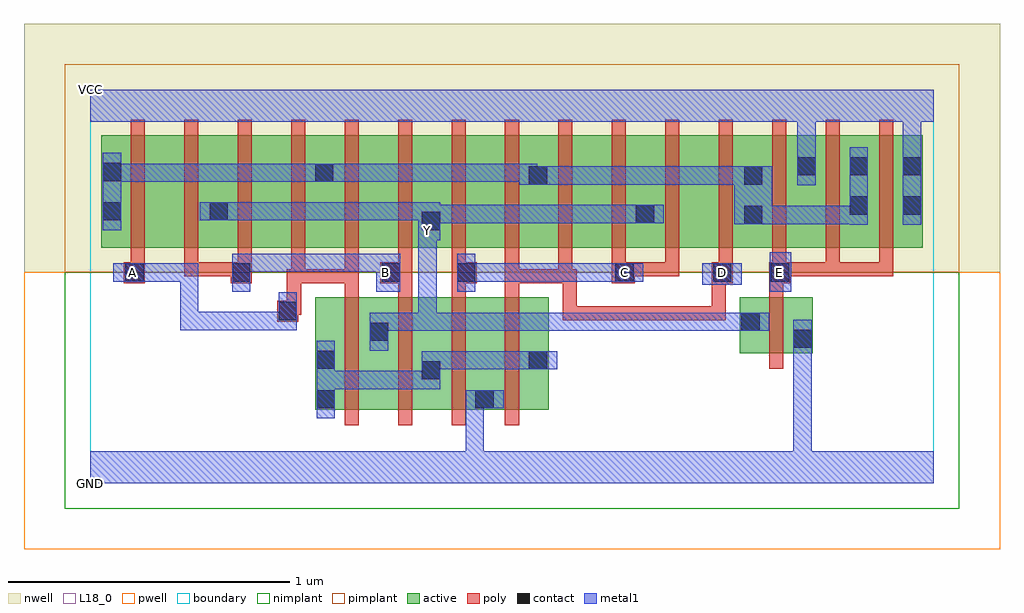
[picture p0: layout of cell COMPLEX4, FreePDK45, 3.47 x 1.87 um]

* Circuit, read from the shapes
.subckt COMPLEX4 A B C D E GND VCC Y
M1 Y A n1 VSUBS nfet w=0.4u l=0.05u
M2 n1 B Y VSUBS nfet w=0.4u l=0.05u
M3 GND C n1 VSUBS nfet w=0.4u l=0.05u
M4 n1 D GND VSUBS nfet w=0.4u l=0.05u
M5 GND E Y VSUBS nfet w=0.2u l=0.05u
M6 n2 A n3 n4 pfet w=0.4u l=0.05u
M7 Y B n2 n4 pfet w=0.4u l=0.05u
M8 n5 B Y n4 pfet w=0.4u l=0.05u
M9 n3 A n5 n4 pfet w=0.4u l=0.05u
M10 n6 A n3 n4 pfet w=0.4u l=0.05u
M11 Y B n6 n4 pfet w=0.4u l=0.05u
M12 n7 C Y n4 pfet w=0.4u l=0.05u
M13 n3 D n7 n4 pfet w=0.4u l=0.05u
M14 n8 D n3 n4 pfet w=0.4u l=0.05u
M15 Y C n8 n4 pfet w=0.4u l=0.05u
M16 n9 C Y n4 pfet w=0.4u l=0.05u
M17 n3 D n9 n4 pfet w=0.4u l=0.05u
M18 VCC E n3 n4 pfet w=0.4u l=0.05u m=3
.ends

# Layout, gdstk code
import gdstk
lib = gdstk.Library(unit=1e-6, precision=1e-09)
def R(c, l, rs):  # rectangles x0, y0, x1, y1
    for r in rs: c.add(gdstk.rectangle(r[:2], r[2:], *l))
def A(c, l, x, y, w, h, nx, ny, dx, dy):  # array of equal rectangles
    R(c, l, [(x+i*dx, y+j*dy, x+i*dx+w, y+j*dy+h) for i in range(nx) for j in range(ny)])
active = (1, 0)
pwell = (2, 0)
nwell = (3, 0)
nimplant = (4, 0)
pimplant = (5, 0)
poly = (9, 0)
contact = (10, 0)
metal1 = (11, 0)
L18_0 = (18, 0)
boundary = (235, 0)

complex4 = lib.new_cell('COMPLEX4')
A(complex4, active, 0.645, 0.837, 0.225, 0.4, 4, 1, 0.38, 0)
A(complex4, active, 0.795, 0.837, 0.23, 0.4, 4, 1, 0.38, 0)
R(complex4, active, [(0.8,0.262,1.065,0.662), (0.8,0.262,0.875,0.662), (0.99,0.262,1.25,0.662), (1.175,0.262,1.44,0.662), (1.365,0.262,1.44,0.492), (1.365,0.262,1.63,0.662), (1.555,0.262,1.63,0.492), (0.99,0.295,1.065,0.577), (1.175,0.295,1.25,0.492), (2.31,0.462,2.385,0.662), (2.31,0.462,2.57,0.662), (2.495,0.462,2.57,0.662), (0.04,0.837,0.265,1.237), (0.04,0.837,0.145,1.2), (0.265,0.837,0.495,1.237), (0.42,0.837,0.495,1.07), (0.42,0.837,0.645,1.237), (0.795,0.837,0.87,1.2), (1.175,0.837,1.25,1.07), (1.555,0.837,1.63,1.2), (1.935,0.837,2.01,1.07), (2.165,0.837,2.395,1.237), (2.32,0.837,2.585,1.237), (2.32,0.837,2.395,1.2), (2.51,0.837,2.77,1.237), (2.51,0.837,2.585,1.237), (2.695,0.837,2.96,1.237), (2.695,0.837,2.77,1.2), (2.885,0.837,2.96,1.237)])
R(complex4, pwell, [(-0.235,-0.235,3.235,0.75)])
R(complex4, nwell, [(-0.235,0.75,3.235,1.635)])
R(complex4, nimplant, [(-0.09,-0.09,3.09,0.75)])
R(complex4, pimplant, [(-0.09,0.75,3.09,1.49)])
A(complex4, poly, 0.905, 0.207, 0.05, 0.51, 4, 1, 0.19, 0)
A(complex4, poly, 0.905, 0.667, 0.05, 0.095, 4, 1, 0.19, 0)
A(complex4, poly, 0.145, 0.737, 0.05, 0.095, 3, 1, 0.19, 0)
A(complex4, poly, 1.855, 0.737, 0.05, 0.095, 6, 1, 0.19, 0)
A(complex4, poly, 0.145, 0.782, 0.05, 0.51, 15, 1, 0.19, 0)
R(complex4, poly, [(2.415,0.407,2.465,0.717), (0.665,0.575,0.74,0.65), (1.68,0.58,1.73,0.63), (1.68,0.58,1.73,0.63), (1.68,0.58,1.73,0.63), (1.68,0.58,1.73,0.63), (1.68,0.58,1.73,0.63), (1.68,0.58,1.73,0.762), (1.68,0.58,1.962,0.63), (1.912,0.58,1.962,0.63), (1.912,0.58,2.127,0.63), (2.077,0.58,2.127,0.63), (2.077,0.58,2.127,0.63), (2.077,0.58,2.127,0.63), (2.077,0.58,2.26,0.63), (2.21,0.58,2.26,0.63), (2.21,0.58,2.26,0.63), (2.21,0.58,2.26,0.63), (2.21,0.58,2.26,0.762), (0.69,0.6,0.74,0.65), (0.69,0.6,0.75,0.65), (0.7,0.6,0.75,0.762), (2.415,0.667,2.465,0.762), (0.12,0.712,0.195,0.787), (0.5,0.712,0.575,0.787), (0.7,0.712,0.765,0.762), (0.715,0.712,0.765,0.762), (0.715,0.712,0.765,0.762), (0.715,0.712,0.955,0.762), (0.715,0.712,0.765,0.832), (0.905,0.712,0.955,0.762), (0.905,0.712,0.955,0.832), (1.032,0.712,1.145,0.787), (1.285,0.712,1.375,0.787), (1.475,0.712,1.525,0.762), (1.475,0.712,1.525,0.762), (1.475,0.712,1.525,0.762), (1.475,0.712,1.715,0.762), (1.475,0.712,1.525,0.832), (1.665,0.712,1.715,0.832), (1.665,0.712,1.73,0.762), (1.855,0.712,1.937,0.787), (2.21,0.712,2.26,0.762), (2.21,0.712,2.26,0.762), (2.21,0.712,2.285,0.787), (2.415,0.712,2.49,0.787), (0.335,0.737,0.385,0.787), (0.335,0.737,0.55,0.787), (0.5,0.737,0.55,0.787), (0.5,0.737,0.55,0.787), (1.095,0.737,1.145,0.832), (1.285,0.737,1.335,0.832), (1.887,0.737,1.937,0.787), (1.887,0.737,1.937,0.787), (1.887,0.737,2.095,0.787), (2.045,0.737,2.095,0.787), (2.44,0.737,2.665,0.787), (2.615,0.737,2.665,0.787), (2.615,0.737,2.665,0.787), (2.615,0.737,2.665,0.787), (2.615,0.737,2.855,0.787), (2.805,0.737,2.855,0.787), (2.805,0.737,2.855,0.787), (2.805,0.737,2.855,0.787)])
R(complex4, contact, [(0.805,0.267,0.87,0.332), (1.37,0.267,1.435,0.332), (1.18,0.37,1.245,0.435), (1.56,0.405,1.625,0.47), (0.805,0.407,0.87,0.472), (2.5,0.482,2.565,0.547), (0.995,0.507,1.06,0.572), (2.315,0.542,2.38,0.607), (0.67,0.58,0.735,0.645), (0.125,0.717,0.19,0.782), (0.505,0.717,0.57,0.782), (1.037,0.717,1.102,0.782), (1.305,0.717,1.37,0.782), (1.867,0.717,1.932,0.782), (2.215,0.717,2.28,0.782), (2.42,0.717,2.485,0.782), (1.18,0.9,1.245,0.965), (2.325,0.922,2.39,0.987), (1.94,0.925,2.005,0.99), (0.045,0.935,0.11,1), (0.425,0.935,0.49,1), (2.7,0.955,2.765,1.02), (2.89,0.955,2.955,1.02), (1.56,1.062,1.625,1.127), (2.325,1.062,2.39,1.127), (0.8,1.072,0.865,1.137), (0.045,1.075,0.11,1.14), (2.515,1.095,2.58,1.16), (2.7,1.095,2.765,1.16), (2.89,1.095,2.955,1.16)])
R(complex4, metal1, [(0,0,3,0.115), (1.335,0.05,1.4,0.332), (2.5,0.05,2.565,0.115), (2.5,0.05,2.565,0.115), (2.5,0.05,2.565,0.115), (2.5,0.05,2.565,0.115), (2.5,0.05,2.565,0.512), (0.805,0.232,0.87,0.507), (1.335,0.267,1.4,0.332), (1.335,0.267,1.4,0.332), (1.335,0.267,1.47,0.332), (0.805,0.335,0.87,0.4), (0.805,0.335,0.87,0.4), (0.805,0.335,1.095,0.4), (1.03,0.335,1.095,0.4), (1.03,0.335,1.095,0.4), (1.03,0.335,1.095,0.4), (1.03,0.335,1.245,0.4), (1.18,0.335,1.245,0.47), (1.18,0.405,1.382,0.47), (1.317,0.405,1.382,0.47), (1.317,0.405,1.382,0.47), (1.317,0.405,1.382,0.47), (1.317,0.405,1.59,0.47), (1.525,0.405,1.59,0.47), (1.525,0.405,1.59,0.47), (1.525,0.405,1.66,0.47), (2.5,0.447,2.565,0.512), (2.5,0.447,2.565,0.512), (2.5,0.447,2.565,0.582), (0.995,0.472,1.06,0.607), (0.995,0.542,1.06,0.607), (0.995,0.542,1.06,0.607), (0.995,0.542,1.232,0.607), (1.167,0.542,1.232,0.607), (1.167,0.542,1.382,0.607), (1.167,0.542,1.232,0.897), (1.317,0.542,1.382,0.607), (1.317,0.542,1.382,0.607), (1.317,0.542,1.382,0.607), (1.317,0.542,1.52,0.607), (1.455,0.542,1.52,0.607), (1.455,0.542,1.52,0.607), (1.455,0.542,1.52,0.607), (1.455,0.542,1.727,0.607), (1.662,0.542,1.727,0.607), (1.662,0.542,1.797,0.607), (1.732,0.542,1.797,0.607), (1.732,0.542,1.935,0.607), (1.87,0.542,1.935,0.607), (1.87,0.542,1.935,0.607), (1.87,0.542,1.935,0.607), (1.87,0.542,2.105,0.607), (2.04,0.542,2.105,0.607), (2.04,0.542,2.105,0.607), (2.04,0.542,2.105,0.607), (2.04,0.542,2.345,0.607), (2.28,0.542,2.345,0.607), (2.28,0.542,2.345,0.607), (2.28,0.542,2.415,0.607), (0.32,0.545,0.385,0.61), (0.32,0.545,0.555,0.61), (0.32,0.545,0.385,0.782), (0.49,0.545,0.555,0.61), (0.49,0.545,0.692,0.61), (0.627,0.545,0.692,0.61), (0.627,0.545,0.692,0.61), (0.627,0.545,0.692,0.61), (0.627,0.545,0.735,0.61), (0.67,0.545,0.735,0.68), (0.505,0.682,0.57,0.817), (1.017,0.682,1.102,0.817), (1.305,0.682,1.37,0.817), (2.417,0.682,2.492,0.822), (2.177,0.707,2.317,0.782), (0.082,0.717,0.225,0.782), (0.16,0.717,0.247,0.782), (0.182,0.717,0.247,0.782), (0.182,0.717,0.385,0.782), (0.32,0.717,0.385,0.782), (0.32,0.717,0.385,0.782), (0.32,0.717,0.385,0.782), (1.305,0.717,1.382,0.782), (1.317,0.717,1.382,0.782), (1.317,0.717,1.59,0.782), (1.525,0.717,1.59,0.782), (1.525,0.717,1.59,0.782), (1.525,0.717,1.59,0.782), (1.525,0.717,1.76,0.782), (1.695,0.717,1.76,0.782), (1.695,0.717,1.797,0.782), (1.732,0.717,1.797,0.782), (1.732,0.717,1.897,0.782), (1.832,0.717,1.967,0.782), (0.505,0.752,0.662,0.817), (0.597,0.752,0.662,0.817), (0.597,0.752,0.732,0.817), (0.667,0.752,0.732,0.817), (0.667,0.752,0.9,0.817), (0.835,0.752,0.9,0.817), (0.835,0.752,0.9,0.817), (0.835,0.752,0.9,0.817), (0.835,0.752,1.082,0.817), (1.017,0.752,1.082,0.817), (1.017,0.752,1.082,0.817), (1.167,0.832,1.232,0.967), (1.167,0.865,1.232,0.93), (1.167,0.865,1.245,1), (0.045,0.9,0.11,1.175), (2.7,0.92,2.765,1.195), (2.89,0.92,2.955,1.195), (2.29,0.922,2.425,1.127), (2.36,0.922,2.562,0.987), (2.497,0.922,2.562,0.987), (2.497,0.922,2.562,0.987), (2.497,0.922,2.562,0.987), (2.497,0.922,2.765,0.987), (2.7,0.922,2.765,0.987), (2.7,0.922,2.765,0.987), (1.18,0.925,1.382,0.99), (1.317,0.925,1.382,0.99), (1.317,0.925,1.382,0.99), (1.317,0.925,1.382,0.99), (1.317,0.925,1.59,0.99), (1.525,0.925,1.59,0.99), (1.525,0.925,1.59,0.99), (1.525,0.925,1.59,0.99), (1.525,0.925,1.727,0.99), (1.662,0.925,1.727,0.99), (1.662,0.925,1.797,0.99), (1.732,0.925,1.797,0.99), (1.732,0.925,1.967,0.99), (1.902,0.925,1.967,0.99), (1.902,0.925,1.97,0.99), (1.905,0.925,2.04,0.99), (0.39,0.935,0.525,1), (0.46,0.935,0.525,1), (0.46,0.935,0.525,1), (0.46,0.935,0.662,1), (0.597,0.935,0.662,1), (0.597,0.935,0.707,1), (0.642,0.935,0.707,1), (0.642,0.935,0.87,1), (0.805,0.935,0.87,1), (0.805,0.935,0.87,1), (0.805,0.935,0.87,1), (0.805,0.935,1.095,1), (1.03,0.935,1.095,1), (1.03,0.935,1.095,1), (1.03,0.935,1.095,1), (1.03,0.935,1.232,1), (2.515,1.06,2.58,1.195), (1.525,1.062,1.59,1.127), (1.525,1.062,1.66,1.127), (1.525,1.062,1.59,1.137), (1.595,1.062,1.727,1.127), (1.662,1.062,1.727,1.127), (1.662,1.062,1.797,1.127), (1.732,1.062,1.797,1.127), (1.732,1.062,1.967,1.127), (1.902,1.062,1.967,1.127), (1.902,1.062,1.967,1.127), (1.902,1.062,1.967,1.127), (1.902,1.062,2.105,1.127), (2.04,1.062,2.105,1.127), (2.04,1.062,2.177,1.127), (2.112,1.062,2.177,1.127), (2.112,1.062,2.177,1.127), (2.112,1.062,2.177,1.127), (2.112,1.062,2.242,1.127), (2.177,1.062,2.242,1.127), (2.177,1.062,2.355,1.127), (0.045,1.072,0.11,1.137), (0.045,1.072,0.11,1.137), (0.045,1.072,0.247,1.137), (0.182,1.072,0.247,1.137), (0.182,1.072,0.247,1.137), (0.182,1.072,0.247,1.137), (0.182,1.072,0.385,1.137), (0.32,1.072,0.385,1.137), (0.32,1.072,0.522,1.137), (0.457,1.072,0.522,1.137), (0.457,1.072,0.522,1.137), (0.457,1.072,0.522,1.137), (0.457,1.072,0.692,1.137), (0.627,1.072,0.692,1.137), (0.627,1.072,0.707,1.137), (0.642,1.072,0.707,1.137), (0.642,1.072,0.83,1.137), (0.765,1.072,0.9,1.137), (0.835,1.072,0.9,1.137), (0.835,1.072,0.9,1.137), (0.835,1.072,1.037,1.137), (0.972,1.072,1.037,1.137), (0.972,1.072,1.037,1.137), (0.972,1.072,1.037,1.137), (0.972,1.072,1.245,1.137), (1.18,1.072,1.245,1.137), (1.18,1.072,1.382,1.137), (1.317,1.072,1.382,1.137), (1.317,1.072,1.382,1.137), (1.317,1.072,1.382,1.137), (1.317,1.072,1.59,1.137), (2.515,1.13,2.58,1.35), (2.89,1.13,2.955,1.35), (0,1.285,3,1.4)])
R(complex4, L18_0, [(0,0,3,0.115), (1.335,0.05,1.4,0.332), (2.5,0.05,2.565,0.115), (2.5,0.05,2.565,0.115), (2.5,0.05,2.565,0.115), (2.5,0.05,2.565,0.115), (2.5,0.05,2.565,0.512), (1.335,0.267,1.4,0.332), (1.335,0.267,1.4,0.332), (1.335,0.267,1.47,0.332), (2.5,0.447,2.565,0.512), (2.5,0.447,2.565,0.512), (2.5,0.447,2.565,0.582), (0.995,0.472,1.06,0.607), (0.995,0.542,1.06,0.607), (0.995,0.542,1.06,0.607), (0.995,0.542,1.232,0.607), (1.167,0.542,1.232,0.607), (1.167,0.542,1.232,0.897), (1.167,0.542,1.382,0.607), (1.317,0.542,1.382,0.607), (1.317,0.542,1.382,0.607), (1.317,0.542,1.382,0.607), (1.317,0.542,1.52,0.607), (1.455,0.542,1.52,0.607), (1.455,0.542,1.52,0.607), (1.455,0.542,1.52,0.607), (1.455,0.542,1.727,0.607), (1.662,0.542,1.727,0.607), (1.662,0.542,1.797,0.607), (1.732,0.542,1.797,0.607), (1.732,0.542,1.935,0.607), (1.87,0.542,1.935,0.607), (1.87,0.542,1.935,0.607), (1.87,0.542,1.935,0.607), (1.87,0.542,2.105,0.607), (2.04,0.542,2.105,0.607), (2.04,0.542,2.105,0.607), (2.04,0.542,2.105,0.607), (2.04,0.542,2.345,0.607), (2.28,0.542,2.345,0.607), (2.28,0.542,2.345,0.607), (2.28,0.542,2.415,0.607), (0.32,0.545,0.385,0.61), (0.32,0.545,0.385,0.782), (0.32,0.545,0.555,0.61), (0.49,0.545,0.555,0.61), (0.49,0.545,0.692,0.61), (0.627,0.545,0.692,0.61), (0.627,0.545,0.692,0.61), (0.627,0.545,0.692,0.61), (0.627,0.545,0.735,0.61), (0.67,0.545,0.735,0.68), (0.505,0.682,0.57,0.817), (1.017,0.682,1.102,0.817), (1.305,0.682,1.37,0.817), (2.417,0.682,2.492,0.822), (2.177,0.707,2.317,0.782), (0.082,0.717,0.225,0.782), (0.117,0.717,0.182,0.782), (0.16,0.717,0.247,0.782), (0.182,0.717,0.247,0.782), (0.182,0.717,0.385,0.782), (0.32,0.717,0.385,0.782), (0.32,0.717,0.385,0.782), (0.32,0.717,0.385,0.782), (1.017,0.717,1.082,0.782), (1.305,0.717,1.382,0.782), (1.317,0.717,1.382,0.782), (1.317,0.717,1.59,0.782), (1.525,0.717,1.59,0.782), (1.525,0.717,1.59,0.782), (1.525,0.717,1.59,0.782), (1.525,0.717,1.76,0.782), (1.695,0.717,1.76,0.782), (1.695,0.717,1.797,0.782), (1.732,0.717,1.797,0.782), (1.732,0.717,1.897,0.782), (1.832,0.717,1.967,0.782), (1.867,0.717,1.932,0.782), (2.217,0.717,2.282,0.782), (2.417,0.717,2.482,0.782), (0.505,0.752,0.662,0.817), (0.597,0.752,0.662,0.817), (0.597,0.752,0.732,0.817), (0.667,0.752,0.732,0.817), (0.667,0.752,0.9,0.817), (0.835,0.752,0.9,0.817), (0.835,0.752,0.9,0.817), (0.835,0.752,0.9,0.817), (0.835,0.752,1.082,0.817), (1.017,0.752,1.082,0.817), (1.017,0.752,1.082,0.817), (1.167,0.832,1.232,0.967), (1.167,0.865,1.232,0.93), (1.167,0.865,1.245,1), (1.167,0.867,1.232,0.932), (2.89,0.92,2.955,1.195), (1.18,0.925,1.382,0.99), (1.317,0.925,1.382,0.99), (1.317,0.925,1.382,0.99), (1.317,0.925,1.382,0.99), (1.317,0.925,1.59,0.99), (1.525,0.925,1.59,0.99), (1.525,0.925,1.59,0.99), (1.525,0.925,1.59,0.99), (1.525,0.925,1.727,0.99), (1.662,0.925,1.727,0.99), (1.662,0.925,1.797,0.99), (1.732,0.925,1.797,0.99), (1.732,0.925,1.967,0.99), (1.902,0.925,1.967,0.99), (1.902,0.925,1.97,0.99), (1.905,0.925,2.04,0.99), (0.39,0.935,0.525,1), (0.46,0.935,0.525,1), (0.46,0.935,0.525,1), (0.46,0.935,0.662,1), (0.597,0.935,0.662,1), (0.597,0.935,0.707,1), (0.642,0.935,0.707,1), (0.642,0.935,0.87,1), (0.805,0.935,0.87,1), (0.805,0.935,0.87,1), (0.805,0.935,0.87,1), (0.805,0.935,1.095,1), (1.03,0.935,1.095,1), (1.03,0.935,1.095,1), (1.03,0.935,1.095,1), (1.03,0.935,1.232,1), (2.515,1.06,2.58,1.195), (2.515,1.13,2.58,1.35), (2.89,1.13,2.955,1.35), (0,1.285,3,1.4)])
R(complex4, boundary, [(0,0,3,1.4)])
complex4.add(gdstk.Label('A', (0.15,0.75), layer=11, texttype=0))
complex4.add(gdstk.Label('B', (1.05,0.75), layer=11, texttype=0))
complex4.add(gdstk.Label('C', (1.9,0.75), layer=11, texttype=0))
complex4.add(gdstk.Label('D', (2.25,0.75), layer=11, texttype=0))
complex4.add(gdstk.Label('E', (2.45,0.75), layer=11, texttype=0))
complex4.add(gdstk.Label('Y', (1.2,0.9), layer=11, texttype=0))
complex4.add(gdstk.Label('VCC', (0,1.4), layer=11, texttype=0))
complex4.add(gdstk.Label('GND', (0,0), layer=11, texttype=0))

lib.write_gds('COMPLEX4.gds')
